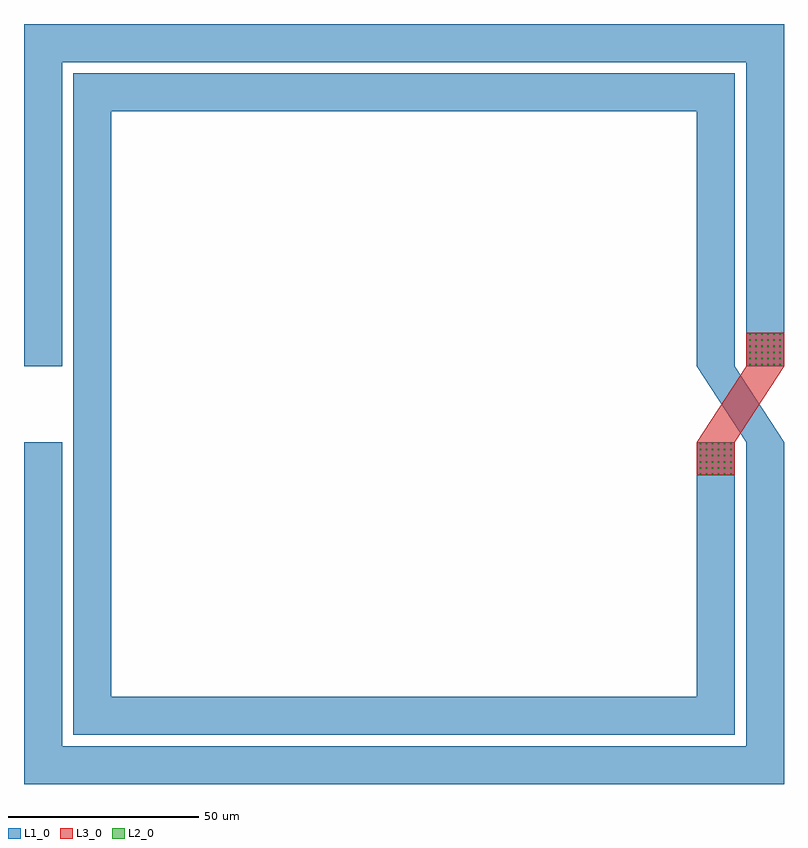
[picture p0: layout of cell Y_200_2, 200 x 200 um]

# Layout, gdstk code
import gdstk
lib = gdstk.Library(unit=1e-6, precision=1e-09)
def R(c, l, rs):  # rectangles x0, y0, x1, y1
    for r in rs: c.add(gdstk.rectangle(r[:2], r[2:], *l))
def A(c, l, x, y, w, h, nx, ny, dx, dy):  # array of equal rectangles
    R(c, l, [(x+i*dx, y+j*dy, x+i*dx+w, y+j*dy+h) for i in range(nx) for j in range(ny)])
def P(c, l, *ps):  # polygons
    for p in ps: c.add(gdstk.Polygon(p, *l))
L1_0 = (1, 0)
L2_0 = (2, 0)
L3_0 = (3, 0)

y_200_2 = lib.new_cell('Y_200_2')
R(y_200_2, L1_0, [(277,191.19,287,199.99), (113,200,123,210), (113,210,123,220), (290,220,300,228.8)])
P(y_200_2, L1_0, [(100,220),(100,310),(110,300),(110,220)],
  [(110,300),(100,310),(300,310),(290,300)],
  [(290,220),(290,300),(300,310),(300,220)],
  [(287,123),(277,133),(277,200),(287,200)],
  [(113,123),(123,133),(277,133),(287,123)],
  [(113,123),(113,200),(123,200),(123,133)],
  [(113,220),(113,297),(123,287),(123,220)],
  [(123,287),(113,297),(287,297),(277,287)],
  [(277,220),(277,287),(287,297),(287,220)],
  [(290,200),(277,220),(287,220),(300,200)],
  [(300,110),(290,120),(290,200),(300,200)],
  [(100,110),(110,120),(290,120),(300,110)],
  [(100,110),(100,200),(110,200),(110,120)])
A(y_200_2, L2_0, 277.8, 191.39, 0.4, 0.4, 6, 6, 1.6, 1.6)
A(y_200_2, L2_0, 290.8, 220.2, 0.4, 0.4, 6, 6, 1.6, 1.6)
R(y_200_2, L3_0, [(277,191.19,287,199.99), (290,220,300,228.8)])
P(y_200_2, L3_0, [(277,200),(290,220),(300,220),(287,200)])

lib.write_gds('Y_200_2.gds')
